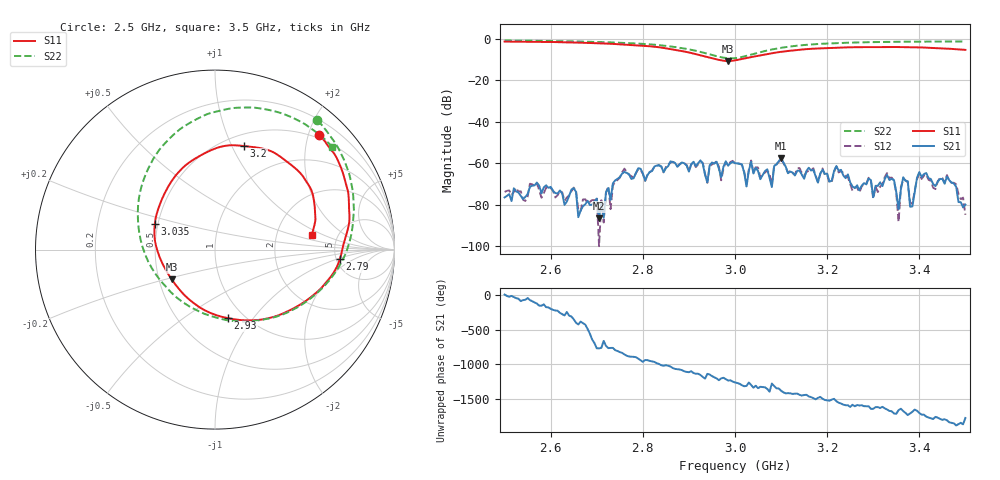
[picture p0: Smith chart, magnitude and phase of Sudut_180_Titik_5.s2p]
# Hz S RI R 50
! CMT, C1220, 16058040, 17.2.0/1
! Date: 15/08/2018 10:25:24
! Data: Format (Calibration Info)
! Freq  S11: Re/Im (F2)  S21: Re/Im (F2)  S12: Re/Im (F2)  S22: Re/Im (F2)
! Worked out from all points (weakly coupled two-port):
!   201 points, 2.5 GHz to 3.5 GHz, reference 50 ohm
!   highest |S21| = -57.54 dB at 3.1 GHz (marker M1); lowest = -86.5 dB at 2.705 GHz (marker M2)
!   lowest |S11| = -10.7 dB at 2.985 GHz (marker M3), VSWR 1.83, Z = 29.1 - j10.6 ohm
!   |S11| at or under -10 dB: 2.963 GHz to 3.008 GHz (44.84 MHz wide, 1.5 % of centre)
!   |S22| runs from -9.3 to -0.7 dB; largest |S21 - S12| = 0.00015
!   S11 on the Smith chart (normalised r, x): 2.5 GHz: 0.44, +2.19; 2.79 GHz: 5.39, -1.10; 2.93 GHz: 0.84, -0.76; 3.035 GHz: 0.48, +0.16; 3.2 GHz: 0.62, +1.11; 3.5 GHz: 3.22, +0.72
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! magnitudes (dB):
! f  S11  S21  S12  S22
! 2.5 GHz  -1.3  -76.4  -73.8  -0.7
! 2.67 GHz  -1.8  -80.7  -77.4  -1.3
! 2.705 GHz  -2.1  -86.5  -100.0  -1.5
! 2.79 GHz  -3.1  -62.4  -62.9  -2.3
! 2.835 GHz  -4.0  -61.0  -60.8  -3.0
! 2.93 GHz  -8.2  -60.1  -59.7  -6.5
! 2.94 GHz  -8.7  -69.2  -69.4  -7.1
! 2.985 GHz  -10.7  -61.1  -60.9  -9.3
! 3 GHz  -10.3  -60.0  -59.9  -9.3
! 3.025 GHz  -9.2  -71.2  -69.6  -8.2
! 3.035 GHz  -8.8  -59.1  -58.6  -7.6
! 3.08 GHz  -6.9  -71.5  -70.5  -5.1
! 3.1 GHz  -6.2  -57.5  -57.8  -4.3
! 3.17 GHz  -4.7  -63.2  -62.4  -2.6
! 3.2 GHz  -4.5  -65.0  -65.6  -2.2
! 3.3 GHz  -4.0  -76.4  -77.1  -1.5
! 3.335 GHz  -3.9  -68.1  -67.0  -1.4
! 3.355 GHz  -3.9  -82.1  -88.2  -1.4
! 3.365 GHz  -4.0  -66.7  -68.0  -1.4
! 3.385 GHz  -4.0  -80.8  -79.6  -1.3
! 3.4 GHz  -4.1  -64.2  -65.0  -1.3
! 3.5 GHz  -5.3  -79.9  -84.8  -1.2
